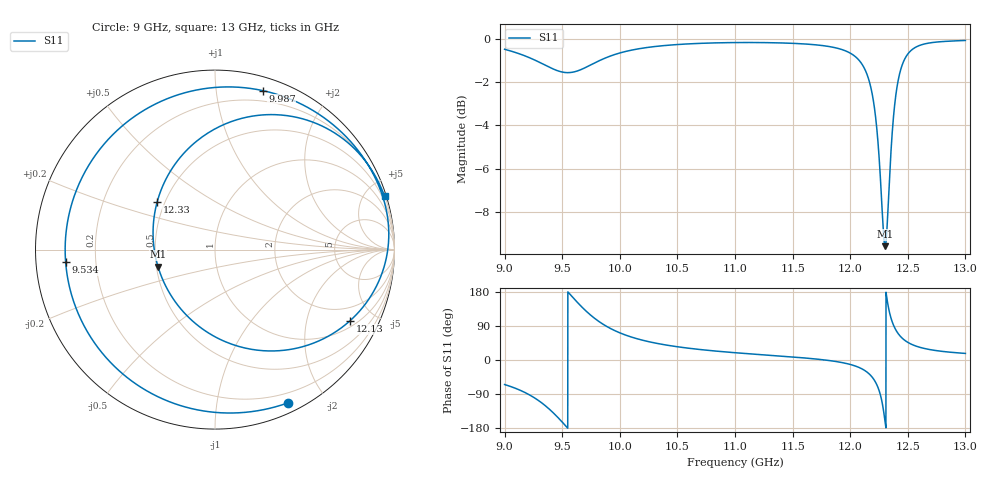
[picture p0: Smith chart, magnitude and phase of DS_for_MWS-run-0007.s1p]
! TOUCHSTONE file generated by CST DESIGN STUDIO
! Date and time: Tue Feb  4 16:28:38 2025
! Project name: C:\Work\MatlabApps\UnitCellOptimizationMatlab\CST\unitcell.cst
! Tree item: Tasks\Sweep1\SPara1\S-Parameters
! Header version: 2024
! Port assignment regex: !\s*Touchstone port\s*([0-9]+)\s*=\s*(CST MWS port|CST DES external port|CST DES block port)\s*(.+)\s* \(\"(.*)\"\)(\s*mode\s*([0-9]+))?.*
! Touchstone port assignment:
! Touchstone port 1 = CST DES external port 1 ("")
# GHz S MA R 50
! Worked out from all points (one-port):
!   4001 points, 9 GHz to 13 GHz, reference 50 ohm
!   lowest |S11| = -9.6 dB at 12.3 GHz (marker M1), VSWR 1.99, Z = 25.5 - j5.5 ohm
!   |S11| at or under -10 dB: nowhere
!   S11 on the Smith chart (normalised r, x): 9 GHz: 0.10, -1.57; 9.534 GHz: 0.09, -0.04; 9.987 GHz: 0.11, +1.34; 12.13 GHz: 1.27, -3.62; 12.33 GHz: 0.45, +0.29; 13 GHz: 0.20, +6.53
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9  0.9455 -64.7
9.147  0.9191 -81.5
9.297  0.8836 -107.6
9.398  0.857 -132.4
9.5  0.8376 -163.8
9.534  0.8351 -175.2
9.626  0.8414 153.9
9.746  0.8695 118.6
9.851  0.897 95.1
9.987  0.9249 73.4
10  0.927 71.7
10.214  0.9526 51.0
10.5  0.9696 34.9
11  0.9799 19.2
11.5  0.9758 8.0
12  0.9264 -11.7
12.127  0.8502 -27.8
12.187  0.7547 -43.8
12.239  0.5865 -70.8
12.271  0.4322 -103.0
12.303  0.3315 -163.2
12.331  0.4185 140.2
12.363  0.5972 102.2
12.395  0.7367 80.0
12.444  0.8581 59.8
12.5  0.9218 46.6
12.664  0.9752 29.1
13  0.9909 17.4
